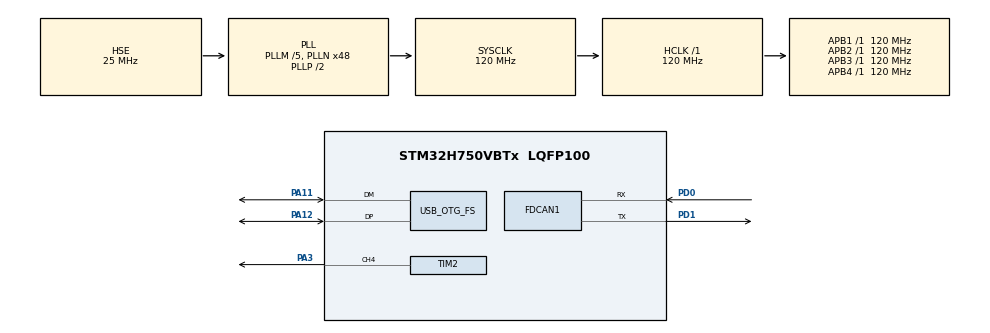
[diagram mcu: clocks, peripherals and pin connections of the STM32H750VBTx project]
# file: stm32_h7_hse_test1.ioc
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CORTEX_M7.default_mode_Activation=1
FDCAN1.AutoRetransmission=ENABLE
FDCAN1.CalculateBaudRateNominal=1000000
FDCAN1.CalculateTimeBitNominal=1000
FDCAN1.CalculateTimeQuantumNominal=20.0
FDCAN1.ClockCalibrationCCU=DISABLE
FDCAN1.DataPrescaler=2
FDCAN1.DataSyncJumpWidth=8
FDCAN1.DataTimeSeg1=16
FDCAN1.DataTimeSeg2=8
FDCAN1.NominalPrescaler=1
FDCAN1.NominalSyncJumpWidth=7
FDCAN1.NominalTimeSeg1=42
FDCAN1.NominalTimeSeg2=7
FDCAN1.RxBuffersNbr=16
FDCAN1.RxFifo0ElmtsNbr=1
FDCAN1.RxFifo1ElmtsNbr=0
FDCAN1.StdFiltersNbr=1
FDCAN1.TxBuffersNbr=0
FDCAN1.TxEventsNbr=0
FDCAN1.TxFifoQueueElmtsNbr=1
Mcu.Family=STM32H7
Mcu.Name=STM32H750VBTx
Mcu.Package=LQFP100
NVIC.FDCAN1_IT0_IRQn=true\:0\:0\:false\:false\:true\:true\:true\:true
NVIC.OTG_FS_IRQn=true\:0\:0\:false\:false\:true\:false\:true\:true
NVIC.PriorityGroup=NVIC_PRIORITYGROUP_4
PA11.Mode=Device_Only
PA11.Signal=USB_OTG_FS_DM
PA12.Mode=Device_Only
PA12.Signal=USB_OTG_FS_DP
PA3.Signal=S_TIM2_CH4
PD0.Mode=FDCAN_Activate
PD0.Signal=FDCAN1_RX
PD1.Mode=FDCAN_Activate
PD1.Signal=FDCAN1_TX
PH0-OSC_IN\ (PH0).Mode=HSE-External-Oscillator
PH0-OSC_IN\ (PH0).Signal=RCC_OSC_IN
PH1-OSC_OUT\ (PH1).Mode=HSE-External-Oscillator
PH1-OSC_OUT\ (PH1).Signal=RCC_OSC_OUT
ProjectManager.HeapSize=0x200
ProjectManager.StackSize=0x400
ProjectManager.TargetToolchain=Makefile
RCC.ADCFreq_Value=75000000
RCC.APB1Freq_Value=120000000
RCC.APB2Freq_Value=120000000
RCC.APB3Freq_Value=120000000
RCC.APB4Freq_Value=120000000
RCC.CortexFreq_Value=120000000
RCC.DIVM1=5
RCC.DIVM2=2
RCC.DIVN1=48
RCC.DIVN2=12
RCC.DIVQ1=5
RCC.DIVQ2=3
RCC.FDCANCLockSelection=RCC_FDCANCLKSOURCE_PLL2
RCC.HCLKFreq_Value=120000000
RCC.HSE_VALUE=25000000
RCC.PLL2FRACN=0
RCC.PLL3FRACN=0
RCC.PLLFRACN=0
RCC.SYSCLKFreq_VALUE=120000000
RCC.SYSCLKSource=RCC_SYSCLKSOURCE_PLLCLK
RCC.USBFreq_Value=48000000
SH.S_TIM2_CH4.0=TIM2_CH4,PWM Generation4 CH4
TIM2.Channel-PWM\ Generation4\ CH4=TIM_CHANNEL_4
TIM2.Period=999
TIM2.Prescaler=25
TIM2.Pulse-PWM\ Generation4\ CH4=500
USB_DEVICE.APP_RX_DATA_SIZE-CDC_FS=256
USB_DEVICE.APP_TX_DATA_SIZE-CDC_FS=256
USB_DEVICE.CLASS_NAME_FS=CDC
USB_DEVICE.USBD_MAX_STR_DESC_SIZ-CDC_FS=64
USB_DEVICE.VirtualMode-CDC_FS=Cdc
USB_DEVICE.VirtualModeFS=Cdc_FS
USB_OTG_FS.VirtualMode=Device_Only
VP_MEMORYMAP_VS_MEMORYMAP.Mode=CurAppReg
VP_USB_DEVICE_VS_USB_DEVICE_CDC_FS.Mode=CDC_FS
board=custom

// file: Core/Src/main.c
/* USER CODE BEGIN Header */
/**
  ******************************************************************************
  * @file           : main.c
  * @brief          : Main program body
  ******************************************************************************
  * @attention
  *
  * Copyright (c) 2025 STMicroelectronics.
  * All rights reserved.
  *
  * This software is licensed under terms that can be found in the LICENSE file
  * in the root directory of this software component.
  * If no LICENSE file comes with this software, it is provided AS-IS.
  *
  ******************************************************************************
  */
/* USER CODE END Header */
#include "main.h"
#include "usb_device.h"

/* USER CODE BEGIN Includes */
#include "usbd_cdc_if.h"
/* USER CODE END Includes */

/* USER CODE BEGIN PM */
uint8_t TxBuffer[] = "Hello World! From STM32 USB CDC Device To Virtual COM Port\r\n";
uint8_t TxBufferLen = sizeof(TxBuffer);
/* USER CODE END PM */

FDCAN_HandleTypeDef hfdcan1;

TIM_HandleTypeDef htim2;

/* USER CODE BEGIN PV */
FDCAN_RxHeaderTypeDef RxHeader;
uint8_t RxData[8];
FDCAN_TxHeaderTypeDef TxHeader;
uint8_t TxData[8];
/* USER CODE END PV */

void SystemClock_Config(void);
static void MPU_Config(void);
static void MX_GPIO_Init(void);
static void MX_TIM2_Init(void);
static void MX_FDCAN1_Init(void);
/* USER CODE BEGIN PFP */
static void FDCAN_Config(void);
/* USER CODE END PFP */

int main(void)
{

  /* MPU Configuration--------------------------------------------------------*/
  MPU_Config();

  /* MCU Configuration--------------------------------------------------------*/

  /* Reset of all peripherals, Initializes the Flash interface and the Systick. */
  HAL_Init();

  /* Configure the system clock */
  SystemClock_Config();

  /* USER CODE BEGIN SysInit */
  /* Initialize all configured peripherals */

  /* USER CODE END SysInit */

  /* Initialize all configured peripherals */
  MX_GPIO_Init();
  MX_TIM2_Init();
  MX_FDCAN1_Init();
  MX_USB_DEVICE_Init();
  /* USER CODE BEGIN 2 */
  uint8_t send_default[] = "still running\r\n";
  uint8_t send_default_len = sizeof(send_default);
  HAL_TIM_PWM_Start(&htim2, TIM_CHANNEL_4);

  FDCAN_FilterTypeDef sFilterConfig;

  sFilterConfig.IdType = FDCAN_STANDARD_ID;
  sFilterConfig.FilterIndex = 0;
  sFilterConfig.FilterType = FDCAN_FILTER_MASK;
  sFilterConfig.FilterConfig = FDCAN_FILTER_TO_RXFIFO0;
  sFilterConfig.FilterID1 = 0x22;
  sFilterConfig.FilterID2 = 0x22;
  sFilterConfig.RxBufferIndex = 0;
if (HAL_FDCAN_ConfigFilter(&hfdcan1, &sFilterConfig) != HAL_OK)
{
  /* Filter configuration Error */
  Error_Handler();
}
  //HAL_FDCAN_Start(&hfdcan1);
  FDCAN_Config();
  /* USER CODE END 2 */

  /* Infinite loop */
  /* USER CODE BEGIN WHILE */
  while (1)
  {
        /* Fade in */
        for (uint16_t duty = 0; duty < 1000; duty++) {
            __HAL_TIM_SET_COMPARE(&htim2, TIM_CHANNEL_4, duty);
            HAL_Delay(1);  // controls fade speed
        }

        /* Fade out */
        for (uint16_t duty = 1000; duty > 0; duty--) {
            __HAL_TIM_SET_COMPARE(&htim2, TIM_CHANNEL_4, duty);
            HAL_Delay(1);
        }

    // Transmit CAN message
    TxData[0] = 0xAB;  // Example data
    TxData[1] = 0xCD;  // Example data

    uint32_t free_level = HAL_FDCAN_GetTxFifoFreeLevel(&hfdcan1);
char debug_msg[64];
snprintf(debug_msg, sizeof(debug_msg), "TX FIFO Free Level: %lu\r\n", free_level);
CDC_Transmit_FS((uint8_t *)debug_msg, strlen(debug_msg));

if (HAL_FDCAN_AddMessageToTxFifoQ(&hfdcan1, &TxHeader, TxData) != HAL_OK) {
    char error_msg[] = "CAN TX Error\r\n";
    CDC_Transmit_FS((uint8_t *)error_msg, strlen(error_msg));
    HAL_Delay(100);  // Add a delay to prevent spamming
}
    CDC_Transmit_FS(send_default, send_default_len);
    HAL_Delay(100);
    /* USER CODE END WHILE */

  }
}

void SystemClock_Config(void)
{
  RCC_OscInitTypeDef RCC_OscInitStruct = {0};
  RCC_ClkInitTypeDef RCC_ClkInitStruct = {0};

  /** Supply configuration update enable
  */
  HAL_PWREx_ConfigSupply(PWR_LDO_SUPPLY);

  /** Configure the main internal regulator output voltage
  */
  __HAL_PWR_VOLTAGESCALING_CONFIG(PWR_REGULATOR_VOLTAGE_SCALE3);

  while(!__HAL_PWR_GET_FLAG(PWR_FLAG_VOSRDY)) {}

  /** Initializes the RCC Oscillators according to the specified parameters
  * in the RCC_OscInitTypeDef structure.
  */
  RCC_OscInitStruct.OscillatorType = RCC_OSCILLATORTYPE_HSE;
  RCC_OscInitStruct.HSEState = RCC_HSE_ON;
  RCC_OscInitStruct.PLL.PLLState = RCC_PLL_ON;
  RCC_OscInitStruct.PLL.PLLSource = RCC_PLLSOURCE_HSE;
  RCC_OscInitStruct.PLL.PLLM = 5;
  RCC_OscInitStruct.PLL.PLLN = 48;
  RCC_OscInitStruct.PLL.PLLP = 2;
  RCC_OscInitStruct.PLL.PLLQ = 5;
  RCC_OscInitStruct.PLL.PLLR = 2;
  RCC_OscInitStruct.PLL.PLLRGE = RCC_PLL1VCIRANGE_2;
  RCC_OscInitStruct.PLL.PLLVCOSEL = RCC_PLL1VCOWIDE;
  RCC_OscInitStruct.PLL.PLLFRACN = 0;
  if (HAL_RCC_OscConfig(&RCC_OscInitStruct) != HAL_OK)
  {
    Error_Handler();
  }

  /** Initializes the CPU, AHB and APB buses clocks
  */
  RCC_ClkInitStruct.ClockType = RCC_CLOCKTYPE_HCLK|RCC_CLOCKTYPE_SYSCLK
                              |RCC_CLOCKTYPE_PCLK1|RCC_CLOCKTYPE_PCLK2
                              |RCC_CLOCKTYPE_D3PCLK1|RCC_CLOCKTYPE_D1PCLK1;
  RCC_ClkInitStruct.SYSCLKSource = RCC_SYSCLKSOURCE_PLLCLK;
  RCC_ClkInitStruct.SYSCLKDivider = RCC_SYSCLK_DIV1;
  RCC_ClkInitStruct.AHBCLKDivider = RCC_HCLK_DIV1;
  RCC_ClkInitStruct.APB3CLKDivider = RCC_APB3_DIV1;
  RCC_ClkInitStruct.APB1CLKDivider = RCC_APB1_DIV1;
  RCC_ClkInitStruct.APB2CLKDivider = RCC_APB2_DIV1;
  RCC_ClkInitStruct.APB4CLKDivider = RCC_APB4_DIV1;

  if (HAL_RCC_ClockConfig(&RCC_ClkInitStruct, FLASH_LATENCY_2) != HAL_OK)
  {
    Error_Handler();
  }
}

static void MX_FDCAN1_Init(void)
{

  hfdcan1.Instance = FDCAN1;
  hfdcan1.Init.FrameFormat = FDCAN_FRAME_CLASSIC;
  hfdcan1.Init.Mode = FDCAN_MODE_NORMAL;
  hfdcan1.Init.AutoRetransmission = ENABLE;
  hfdcan1.Init.TransmitPause = DISABLE;
  hfdcan1.Init.ProtocolException = DISABLE;
  hfdcan1.Init.NominalPrescaler = 1;
  hfdcan1.Init.NominalSyncJumpWidth = 7;
  hfdcan1.Init.NominalTimeSeg1 = 42;
  hfdcan1.Init.NominalTimeSeg2 = 7;
  hfdcan1.Init.DataPrescaler = 2;
  hfdcan1.Init.DataSyncJumpWidth = 8;
  hfdcan1.Init.DataTimeSeg1 = 16;
  hfdcan1.Init.DataTimeSeg2 = 8;
  hfdcan1.Init.MessageRAMOffset = 0;
  hfdcan1.Init.StdFiltersNbr = 1;
  hfdcan1.Init.ExtFiltersNbr = 0;
  hfdcan1.Init.RxFifo0ElmtsNbr = 1;
  hfdcan1.Init.RxFifo0ElmtSize = FDCAN_DATA_BYTES_8;
  hfdcan1.Init.RxFifo1ElmtsNbr = 0;
  hfdcan1.Init.RxFifo1ElmtSize = FDCAN_DATA_BYTES_8;
  hfdcan1.Init.RxBuffersNbr = 16;
  hfdcan1.Init.RxBufferSize = FDCAN_DATA_BYTES_8;
  hfdcan1.Init.TxEventsNbr = 0;
  hfdcan1.Init.TxBuffersNbr = 0;
  hfdcan1.Init.TxFifoQueueElmtsNbr = 1;
  hfdcan1.Init.TxFifoQueueMode = FDCAN_TX_FIFO_OPERATION;
  hfdcan1.Init.TxElmtSize = FDCAN_DATA_BYTES_8;
  if (HAL_FDCAN_Init(&hfdcan1) != HAL_OK)
  {
    Error_Handler();
  }
  /* USER CODE BEGIN FDCAN1_Init 2 */
char debug_msg[] = "Initializing FDCAN...\r\n";
CDC_Transmit_FS((uint8_t *)debug_msg, strlen(debug_msg));

if (HAL_FDCAN_Init(&hfdcan1) != HAL_OK)
{
    char error_msg[] = "FDCAN Init Failed\r\n";
    CDC_Transmit_FS((uint8_t *)error_msg, strlen(error_msg));
    Error_Handler();
}
else
{
    char success_msg[] = "FDCAN Init Successful\r\n";
    CDC_Transmit_FS((uint8_t *)success_msg, strlen(success_msg));
}
  /* USER CODE END FDCAN1_Init 2 */

}

static void MX_TIM2_Init(void)
{

  TIM_MasterConfigTypeDef sMasterConfig = {0};
  TIM_OC_InitTypeDef sConfigOC = {0};

  htim2.Instance = TIM2;
  htim2.Init.Prescaler = 25;
  htim2.Init.CounterMode = TIM_COUNTERMODE_UP;
  htim2.Init.Period = 999;
  htim2.Init.ClockDivision = TIM_CLOCKDIVISION_DIV1;
  htim2.Init.AutoReloadPreload = TIM_AUTORELOAD_PRELOAD_DISABLE;
  if (HAL_TIM_PWM_Init(&htim2) != HAL_OK)
  {
    Error_Handler();
  }
  sMasterConfig.MasterOutputTrigger = TIM_TRGO_RESET;
  sMasterConfig.MasterSlaveMode = TIM_MASTERSLAVEMODE_DISABLE;
  if (HAL_TIMEx_MasterConfigSynchronization(&htim2, &sMasterConfig) != HAL_OK)
  {
    Error_Handler();
  }
  sConfigOC.OCMode = TIM_OCMODE_PWM1;
  sConfigOC.Pulse = 500;
  sConfigOC.OCPolarity = TIM_OCPOLARITY_HIGH;
  sConfigOC.OCFastMode = TIM_OCFAST_DISABLE;
  if (HAL_TIM_PWM_ConfigChannel(&htim2, &sConfigOC, TIM_CHANNEL_4) != HAL_OK)
  {
    Error_Handler();
  }
  HAL_TIM_MspPostInit(&htim2);

}

static void MX_GPIO_Init(void)
{

  /* GPIO Ports Clock Enable */
  __HAL_RCC_GPIOH_CLK_ENABLE();
  __HAL_RCC_GPIOA_CLK_ENABLE();
  __HAL_RCC_GPIOD_CLK_ENABLE();

}

/* USER CODE BEGIN 4 */
/**
  * @brief  Configures the FDCAN.
  *   None
  * @retval None
  */
static void FDCAN_Config(void)
{
  TxHeader.Identifier = 0x321;
  TxHeader.IdType = FDCAN_STANDARD_ID;
  TxHeader.TxFrameType = FDCAN_DATA_FRAME;
  TxHeader.DataLength = FDCAN_DLC_BYTES_2;
  TxHeader.ErrorStateIndicator = FDCAN_ESI_PASSIVE;
  TxHeader.BitRateSwitch = FDCAN_BRS_OFF;
  TxHeader.FDFormat = FDCAN_CLASSIC_CAN;
  TxHeader.TxEventFifoControl = FDCAN_NO_TX_EVENTS;
  TxHeader.MessageMarker = 0;
  if (HAL_FDCAN_ConfigGlobalFilter(&hfdcan1, FDCAN_ACCEPT_IN_RX_FIFO0, FDCAN_ACCEPT_IN_RX_FIFO0, FDCAN_REJECT_REMOTE, FDCAN_REJECT_REMOTE) != HAL_OK)
  {
    Error_Handler();
  }

  if (HAL_FDCAN_Start(&hfdcan1) != HAL_OK)
  {
    Error_Handler();
  }

  if (HAL_FDCAN_ActivateNotification(&hfdcan1,
                                     FDCAN_IT_RX_FIFO0_NEW_MESSAGE |
                                     FDCAN_IT_BUS_OFF |
                                     FDCAN_IT_ERROR_PASSIVE |
                                     FDCAN_IT_ERROR_WARNING,
                                     0) != HAL_OK)
  {
    Error_Handler();
  }

}

void HAL_FDCAN_RxFifo0Callback(FDCAN_HandleTypeDef *hfdcan, uint32_t RxFifo0ITs)
{
    if (RxFifo0ITs & FDCAN_IT_RX_FIFO0_NEW_MESSAGE)
    {
        /* Retrieve Rx messages from RX FIFO0 */
        if (HAL_FDCAN_GetRxMessage(hfdcan, FDCAN_RX_FIFO0, &RxHeader, RxData) != HAL_OK)
        {
            Error_Handler();
        }

        /* Convert DLC to actual data length */
        uint8_t data_length = (RxHeader.DataLength >> 16) & 0xF;

        /* Print received message over USB */
        char msg[64];
        int len = snprintf(msg, sizeof(msg), "ID: 0x%03X, DLC: %d, Data: ", RxHeader.Identifier, data_length);
        for (int i = 0; i < data_length; i++)
        {
            len += snprintf(msg + len, sizeof(msg) - len, "%02X ", RxData[i]);
        }
        snprintf(msg + len, sizeof(msg) - len, "\r\n");

        CDC_Transmit_FS((uint8_t *)msg, strlen(msg));
    }

    if (RxFifo0ITs & FDCAN_IT_BUS_OFF)
    {
        char error_msg[] = "CAN Bus-Off Error\r\n";
        CDC_Transmit_FS((uint8_t *)error_msg, strlen(error_msg));
        HAL_FDCAN_Stop(hfdcan);  // Stop the CAN peripheral
        HAL_Delay(1000);         // Wait before attempting recovery
        HAL_FDCAN_Start(hfdcan); // Restart the CAN peripheral
    }

    if (RxFifo0ITs & FDCAN_IT_ERROR_PASSIVE)
    {
        char error_msg[] = "CAN Error Passive\r\n";
        CDC_Transmit_FS((uint8_t *)error_msg, strlen(error_msg));
    }

    if (RxFifo0ITs & FDCAN_IT_ERROR_WARNING)
    {
        char error_msg[] = "CAN Error Warning\r\n";
        CDC_Transmit_FS((uint8_t *)error_msg, strlen(error_msg));
    }
}

/* USER CODE END 4 */

 /* MPU Configuration */

void MPU_Config(void)
{
  MPU_Region_InitTypeDef MPU_InitStruct = {0};

  /* Disables the MPU */
  HAL_MPU_Disable();

  /** Initializes and configures the Region and the memory to be protected
  */
  MPU_InitStruct.Enable = MPU_REGION_ENABLE;
  MPU_InitStruct.Number = MPU_REGION_NUMBER0;
  MPU_InitStruct.BaseAddress = 0x0;
  MPU_InitStruct.Size = MPU_REGION_SIZE_4GB;
  MPU_InitStruct.SubRegionDisable = 0x87;
  MPU_InitStruct.TypeExtField = MPU_TEX_LEVEL0;
  MPU_InitStruct.AccessPermission = MPU_REGION_NO_ACCESS;
  MPU_InitStruct.DisableExec = MPU_INSTRUCTION_ACCESS_DISABLE;
  MPU_InitStruct.IsShareable = MPU_ACCESS_SHAREABLE;
  MPU_InitStruct.IsCacheable = MPU_ACCESS_NOT_CACHEABLE;
  MPU_InitStruct.IsBufferable = MPU_ACCESS_NOT_BUFFERABLE;

  HAL_MPU_ConfigRegion(&MPU_InitStruct);
  /* Enables the MPU */
  HAL_MPU_Enable(MPU_PRIVILEGED_DEFAULT);

}

void Error_Handler(void)
{
  /* USER CODE BEGIN Error_Handler_Debug */
  /* User can add his own implementation to report the HAL error return state */
    while (1)
  {
    char error_msg[] = "Error occurred\r\n";
    CDC_Transmit_FS((uint8_t *)error_msg, strlen(error_msg));
    HAL_Delay(1000);  // Wait for the message to be sent
  }
  //__disable_irq();

  /* USER CODE END Error_Handler_Debug */
}
